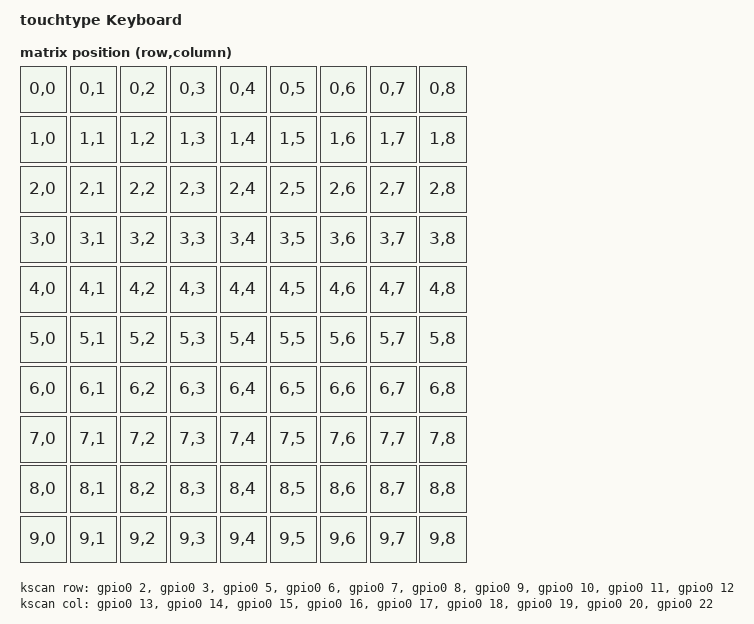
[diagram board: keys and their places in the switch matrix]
/*
 * Copyright (c) 2020 The ZMK Contributors
 *
 * SPDX-License-Identifier: MIT
 */

/dts-v1/;
#include <nordic/nrf52832_qfaa.dtsi>
#include <dt-bindings/gpio/gpio.h> // 1. 提供了 GPIO 宏
#include <dt-bindings/zmk/matrix_transform.h>

/ {
    model = "touchtype Keyboard";
	compatible = "touchtype", "nordic,nrf52832-qfaa", "nordic,nrf52832";

	chosen {
		//zephyr,console = &uart0;
		//zephyr,shell-uart = &uart0;
		//zephyr,uart-mcumgr = &uart0;
		//zephyr,bt-mon-uart = &uart0;
		//zephyr,bt-c2h-uart = &uart0;
		zephyr,sram = &sram0;
		zephyr,flash = &flash0;
        zephyr,code-partition = &slot0_partition;
        zmk,kscan = &kscan;
        zmk,matrix-transform = &transform;
        zmk,battery = &vbatt;
	};

    transform: transform {
        compatible = "zmk,matrix-transform";
        rows = <9>;
        columns = <10>;

        map = <
        RC(0,0) RC(0,1) RC(0,2) RC(0,3) RC(0,4) RC(0,5) RC(0,6) RC(0,7) RC(0,8)
        RC(1,0) RC(1,1) RC(1,2) RC(1,3) RC(1,4) RC(1,5) RC(1,6) RC(1,7) RC(1,8)
        RC(2,0) RC(2,1) RC(2,2) RC(2,3) RC(2,4) RC(2,5) RC(2,6) RC(2,7) RC(2,8)
        RC(3,0) RC(3,1) RC(3,2) RC(3,3) RC(3,4) RC(3,5) RC(3,6) RC(3,7) RC(3,8)
        RC(4,0) RC(4,1) RC(4,2) RC(4,3) RC(4,4) RC(4,5) RC(4,6) RC(4,7) RC(4,8)
        RC(5,0) RC(5,1) RC(5,2) RC(5,3) RC(5,4) RC(5,5) RC(5,6) RC(5,7) RC(5,8)
        RC(6,0) RC(6,1) RC(6,2) RC(6,3) RC(6,4) RC(6,5) RC(6,6) RC(6,7) RC(6,8)
        RC(7,0) RC(7,1) RC(7,2) RC(7,3) RC(7,4) RC(7,5) RC(7,6) RC(7,7) RC(7,8)
        RC(8,0) RC(8,1) RC(8,2) RC(8,3) RC(8,4) RC(8,5) RC(8,6) RC(8,7) RC(8,8)
        RC(9,0) RC(9,1) RC(9,2) RC(9,3) RC(9,4) RC(9,5) RC(9,6) RC(9,7) RC(9,8)
        >;

    };

    kscan: kscan {
        compatible = "zmk,kscan-gpio-matrix";
        diode-direction = "row2col";
        wakeup-source;

        // todo
        row-gpios
            = <&gpio0 2 GPIO_ACTIVE_LOW>
            , <&gpio0 3 GPIO_ACTIVE_LOW> 
            //, <&gpio0 4 GPIO_ACTIVE_LOW>  P0.04 口用不了
            , <&gpio0 5 GPIO_ACTIVE_LOW>
            , <&gpio0 6 GPIO_ACTIVE_LOW>
            , <&gpio0 7 GPIO_ACTIVE_LOW>
            , <&gpio0 8 GPIO_ACTIVE_LOW>
            , <&gpio0 9 GPIO_ACTIVE_LOW>
            , <&gpio0 10 GPIO_ACTIVE_LOW>
            , <&gpio0 11 GPIO_ACTIVE_LOW>
            , <&gpio0 12 GPIO_ACTIVE_LOW>
        ;
        col-gpios
            = <&gpio0 13 (GPIO_ACTIVE_LOW | GPIO_PULL_UP)>
            , <&gpio0 14 (GPIO_ACTIVE_LOW | GPIO_PULL_UP)>
            , <&gpio0 15 (GPIO_ACTIVE_LOW | GPIO_PULL_UP)>
            , <&gpio0 16 (GPIO_ACTIVE_LOW | GPIO_PULL_UP)>
            , <&gpio0 17 (GPIO_ACTIVE_LOW | GPIO_PULL_UP)>
            , <&gpio0 18 (GPIO_ACTIVE_LOW | GPIO_PULL_UP)>
            , <&gpio0 19 (GPIO_ACTIVE_LOW | GPIO_PULL_UP)>
            , <&gpio0 20 (GPIO_ACTIVE_LOW | GPIO_PULL_UP)>
            , <&gpio0 22 (GPIO_ACTIVE_LOW | GPIO_PULL_UP)> // P0.21 是reset 键，用不了
        ;
    };


    vbatt: vbatt {
        compatible = "zmk,battery-voltage-divider";
        // 我使用的 P0.29 对应 AIN5 通道，所以这里是 &adc 5
        io-channels = <&adc 5>;
        output-ohms = <100000>;
        full-ohms = <200000>;
        status = "okay";
    };

    

};

&uicr {
    nfct-pins-as-gpios;
    gpio-as-nreset;
};

&adc {
	status ="okay";
};

&gpiote {
	status = "okay";
};

&gpio0 {
	status = "okay";
};

&pinctrl {

    i2c0_default: i2c0_default {
        group1 {
            psels = <NRF_PSEL(TWIM_SDA, 0, 25)>,
                <NRF_PSEL(TWIM_SCL, 0, 26)>;
        };
    };

    i2c0_sleep: i2c0_sleep {
        group1 {
            psels = <NRF_PSEL(TWIM_SDA, 0, 25)>,
                <NRF_PSEL(TWIM_SCL, 0, 26)>;
            low-power-enable;
        };
    };

};

&i2c0 {
	compatible = "nordic,nrf-twi";
	status = "okay";
	pinctrl-0 = <&i2c0_default>;
    pinctrl-1 = <&i2c0_sleep>;
    pinctrl-names = "default", "sleep";
    clock-frequency = <I2C_BITRATE_FAST>;

    xw12a: xw12a@0x40 {
        compatible = "xinwang,xw12a";
        reg = <0x40>;
        inter-gpios = <&gpio0 27 GPIO_ACTIVE_LOW>;
    };


};

&flash0 {
	/*
	 * For more information, see:
	 * http://docs.zephyrproject.org/latest/guides/dts/index.html#flash-partitions
	 */
	partitions {
		compatible = "fixed-partitions";
		#address-cells = <1>;
		#size-cells = <1>;

		boot_partition: partition@0 {
			label = "mcuboot";
			reg = <0x00000000 0xc000>;
		};
		slot0_partition: partition@c000 {
			label = "image-0";
			reg = <0x0000C000 0x32000>;
		};
		slot1_partition: partition@3e000 {
			label = "image-1";
			reg = <0x0003E000 0x32000>;
		};
		scratch_partition: partition@70000 {
			label = "image-scratch";
			reg = <0x00070000 0xa000>;
		};
		storage_partition: partition@7a000 {
			label = "storage";
			reg = <0x0007a000 0x00006000>;
		};
	};
};


